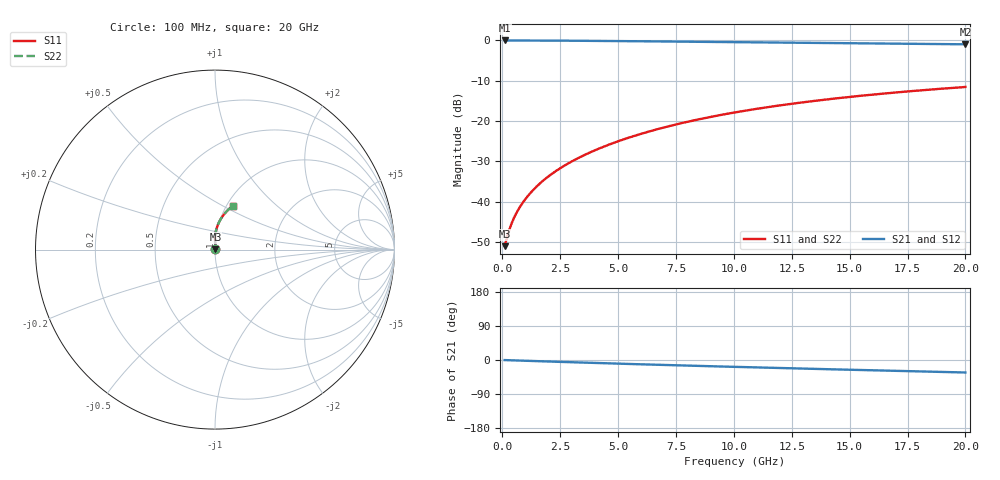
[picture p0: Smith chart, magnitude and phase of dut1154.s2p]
! Touchstone file exported from HFSS 2024.1.0
!  File:  C:/UserFiles/LocalFiles/RDL_TSV_Batchsim/temp_RDL_top_1154_1780048294.aedt
!  Generated:  05:53:29 PM May 29, 2026
!  Design:  RDL_top
!  Project:  temp_RDL_top_1154_1780048294
!  Setup:  Setup1
!  Solution:  Sweep
! Variables:
!  dtsv = 10.80580581um
!  hbump = 3um
!  htsv = 98.6um
!  ldown = 100um
!  lrdl = 479.8um
!  p = 40
!  p1 = 48.53um
!  rhole = 1um
!  t = 450um
!  tdown = 3.915915916um
!  trdl = 2.75um
!  wdown = 15.38538539um
!  wrdl = 27.71um
# GHz S MA R 50.000000
! Terminal data exported
! Port[1] = Box2_T1
! Port[2] = Box2_T2
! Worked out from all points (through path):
!   200 points, 100 MHz to 20 GHz, reference 50 ohm
!   highest |S21| = -0.02 dB at 100 MHz (marker M1); lowest = -1.0 dB at 20 GHz (marker M2)
!   group delay of S21, straight-line fit = 4.52 ps
!   lowest |S11| = -51.0 dB at 100 MHz (marker M3), VSWR 1.01, Z = 50.3 + j0.124 ohm
!   |S11| at or under -10 dB: start of sweep to end of sweep
!   |S22| runs from -51.0 to -11.5 dB; largest |S21 - S12| = 3.2e-15
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0.1  0.002823 25.8  0.9974 -0.2  0.9974 -0.2  0.002823 25.8
! Gamma 0 0 0 0
! Port Impedance 50 0 50 0
0.3  0.004478 51.0  0.9971 -0.6  0.9971 -0.6  0.004478 51.0
0.4  0.005382 56.9  0.9969 -0.8  0.9969 -0.8  0.005382 56.9
0.5  0.00628 61.1  0.9967 -1.0  0.9967 -1.0  0.006279 61.1
0.6  0.007175 64.5  0.9965 -1.2  0.9965 -1.2  0.007175 64.5
0.8  0.008982 69.6  0.9962 -1.6  0.9962 -1.6  0.008982 69.6
1  0.01083 73.3  0.9958 -2.0  0.9958 -2.0  0.01083 73.3
1.2  0.01273 76.2  0.9954 -2.4  0.9954 -2.4  0.01273 76.2
1.7  0.01766 81.2  0.9943 -3.4  0.9943 -3.4  0.01766 81.2
2.2  0.02284 84.3  0.9928 -4.4  0.9928 -4.4  0.02284 84.3
2.8  0.02937 86.7  0.9907 -5.5  0.9907 -5.5  0.02938 86.7
3.5  0.03743 88.5  0.9878 -6.9  0.9878 -6.9  0.03744 88.5
4.2  0.04595 89.4  0.9844 -8.2  0.9844 -8.2  0.04596 89.4
5  0.05619 89.9  0.9802 -9.6  0.9802 -9.6  0.05621 89.9
5.9  0.06828 89.7  0.9751 -11.2  0.9751 -11.2  0.0683 89.7
6.8  0.08083 89.1  0.9698 -12.8  0.9698 -12.8  0.08086 89.1
8.4  0.1039 87.2  0.9601 -15.5  0.9601 -15.5  0.1039 87.2
10.1  0.1289 84.6  0.9499 -18.2  0.9499 -18.2  0.1289 84.6
11.7  0.1523 81.9  0.9405 -20.7  0.9405 -20.7  0.1524 81.9
13.4  0.1768 78.9  0.9306 -23.3  0.9306 -23.3  0.1769 78.9
16.7  0.2224 73.1  0.912 -28.2  0.912 -28.2  0.2225 73.1
20  0.2646 67.6  0.8938 -33.0  0.8938 -33.0  0.2648 67.6
